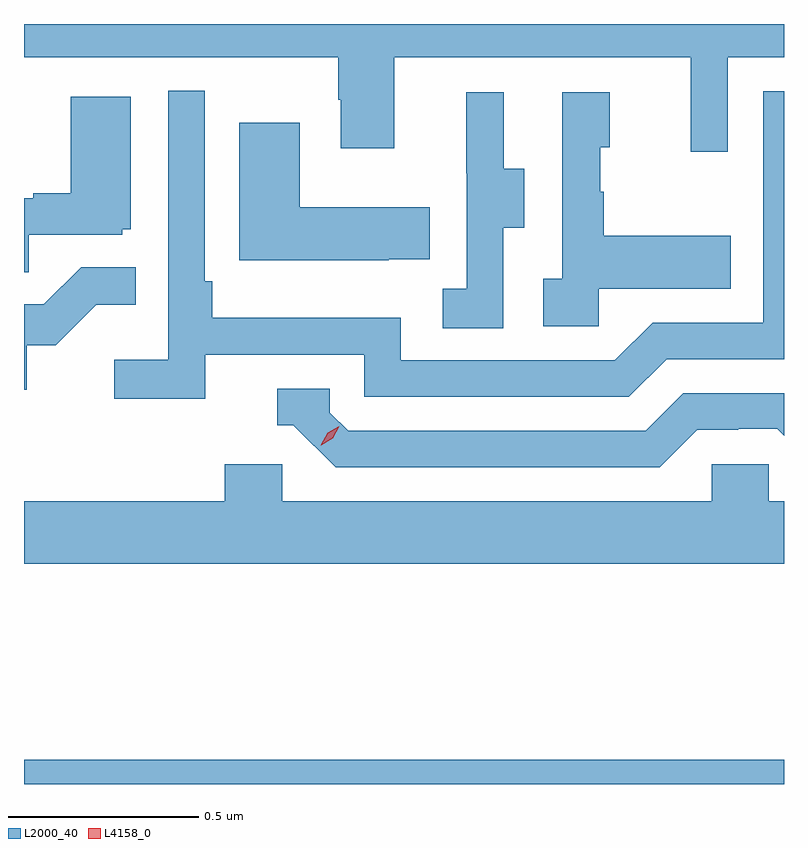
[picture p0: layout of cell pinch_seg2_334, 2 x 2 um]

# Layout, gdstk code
import gdstk
lib = gdstk.Library(unit=1e-6, precision=1e-09)
def R(c, l, rs):  # rectangles x0, y0, x1, y1
    for r in rs: c.add(gdstk.rectangle(r[:2], r[2:], *l))
def P(c, l, *ps):  # polygons
    for p in ps: c.add(gdstk.Polygon(p, *l))
L2000_40 = (2000, 40)
L4158_0 = (4158, 0)

pinch_seg2_334 = lib.new_cell('pinch_seg2_334')
R(pinch_seg2_334, L2000_40, [(957.095,639.064,959.095,639.128)])
P(pinch_seg2_334, L2000_40, [(958.947,640.976),(959.095,640.976),(959.095,641.064),(957.095,641.064),(957.095,640.976),(957.922,640.976),(957.922,640.865),(957.929,640.865),(957.929,640.737),(958.069,640.737),(958.069,640.976),(958.85,640.976),(958.85,640.728),(958.947,640.728)],
  [(957.572,640.194),(957.99,640.194),(957.99,640.083),(958.687,640.083),(958.786,640.182),(959.095,640.182),(959.095,640.887),(959.04,640.887),(959.04,640.278),(958.749,640.278),(958.65,640.179),(958.086,640.179),(958.086,640.291),(957.59,640.291),(957.59,640.387),(957.57,640.387),(957.57,640.888),(957.474,640.888),(957.474,640.18),(957.333,640.18),(957.333,640.078),(957.572,640.078)],
  [(958.608,640.367),(958.955,640.367),(958.955,640.507),(958.621,640.507),(958.621,640.622),(958.611,640.622),(958.611,640.74),(958.636,640.74),(958.636,640.885),(958.512,640.885),(958.512,640.394),(958.461,640.394),(958.461,640.269),(958.608,640.269)],
  [(958.356,640.528),(958.411,640.528),(958.411,640.683),(958.357,640.683),(958.357,640.885),(958.259,640.885),(958.259,640.671),(958.26,640.671),(958.26,640.367),(958.197,640.367),(958.197,640.264),(958.356,640.264)],
  [(957.107,640.509),(957.354,640.509),(957.354,640.524),(957.376,640.524),(957.376,640.873),(957.218,640.873),(957.218,640.618),(957.119,640.618),(957.119,640.605),(957.095,640.605),(957.095,640.411),(957.107,640.411)],
  [(958.055,640.445),(958.163,640.445),(958.163,640.582),(957.82,640.582),(957.82,640.804),(957.662,640.804),(957.662,640.442),(958.055,640.442)],
  [(957.102,640.218),(957.178,640.218),(957.285,640.325),(957.389,640.325),(957.389,640.424),(957.245,640.424),(957.147,640.326),(957.095,640.326),(957.095,640.101),(957.102,640.101)],
  [(958.867,639.996),(958.974,639.996),(958.974,639.999),(959.077,639.999),(959.095,639.981),(959.095,640.092),(958.83,640.092),(958.731,639.993),(957.948,639.993),(957.9,640.041),(957.9,640.104),(957.761,640.104),(957.761,640.008),(957.804,640.008),(957.915,639.897),(958.768,639.897)],
  [(959.095,639.808),(959.055,639.808),(959.055,639.906),(958.905,639.906),(958.905,639.808),(957.774,639.808),(957.774,639.906),(957.623,639.906),(957.623,639.808),(957.095,639.808),(957.095,639.644),(959.095,639.644)])
P(pinch_seg2_334, L4158_0, [(957.876,639.955),(957.876,639.955),(957.894,639.988),(957.925,640.006),(957.925,640.006),(957.925,640.006),(957.908,639.974),(957.877,639.955)])

lib.write_gds('pinch_seg2_334.gds')
